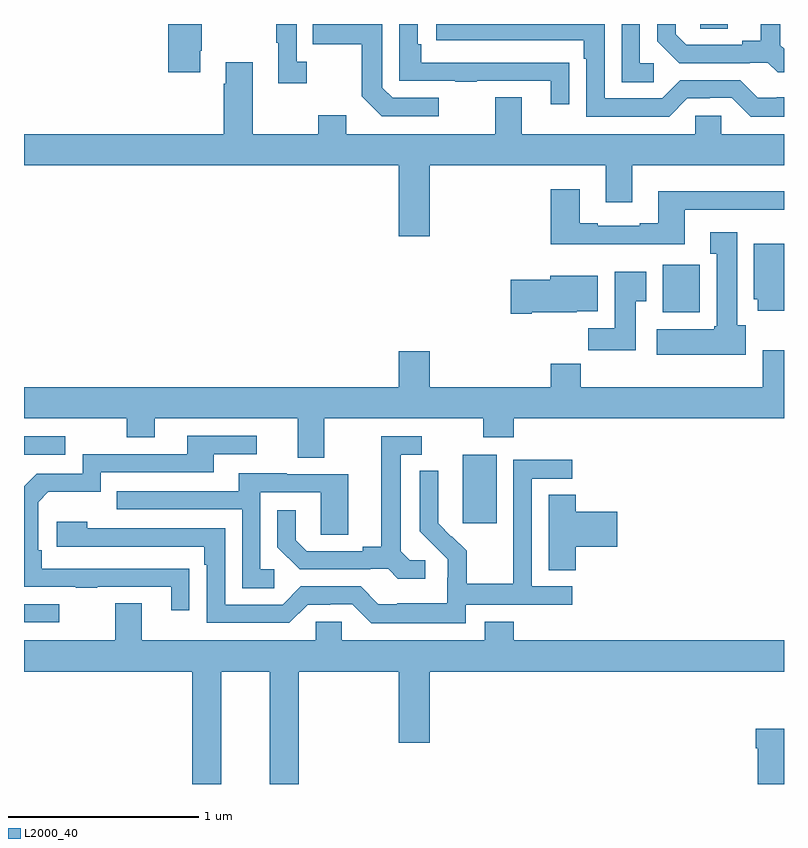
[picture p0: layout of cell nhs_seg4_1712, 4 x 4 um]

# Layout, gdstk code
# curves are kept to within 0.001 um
import gdstk
lib = gdstk.Library(unit=1e-6, precision=1e-09)
def R(c, l, rs):  # rectangles x0, y0, x1, y1
    for r in rs: c.add(gdstk.rectangle(r[:2], r[2:], *l))
def P(c, l, *ps):  # polygons
    for p in ps: c.add(gdstk.Polygon(p, *l))
L2000_40 = (2000, 40)

nhs_seg4_1712 = lib.new_cell('nhs_seg4_1712')
R(nhs_seg4_1712, L2000_40, [(199,791.751,199.186,791.847), (201.308,792.273,201.487,792.634), (199,792.633,199.216,792.729), (202.361,793.382,202.557,793.633), (202.56,794.875,202.705,794.9)])
P(nhs_seg4_1712, L2000_40, [(199.927,794.758),(199.935,794.758),(199.935,794.9),(199.76,794.9),(199.76,794.646),(199.927,794.646)],
  [(200.488,794.702),(200.436,794.702),(200.436,794.9),(200.328,794.9),(200.328,794.801),(200.339,794.801),(200.339,794.589),(200.488,794.589)],
  [(202.315,794.694),(202.242,794.694),(202.242,794.9),(202.146,794.9),(202.146,794.593),(202.315,794.593)],
  [(201.869,794.696),(201.767,794.696),(201.767,794.697),(201.092,794.697),(201.092,794.794),(201.072,794.794),(201.072,794.9),(200.976,794.9),(200.976,794.601),(201.271,794.601),(201.271,794.596),(201.383,794.596),(201.383,794.601),(201.773,794.601),(201.773,794.478),(201.869,794.478)],
  [(201.184,794.511),(200.94,794.511),(200.886,794.565),(200.886,794.9),(200.521,794.9),(200.521,794.794),(200.778,794.794),(200.778,794.521),(200.883,794.415),(201.184,794.415)],
  [(203,794.515),(202.963,794.515),(202.963,794.511),(202.863,794.511),(202.77,794.604),(202.455,794.604),(202.359,794.508),(202.056,794.508),(202.056,794.9),(201.171,794.9),(201.171,794.814),(201.947,794.814),(201.947,794.717),(201.96,794.717),(201.96,794.412),(202.395,794.412),(202.491,794.508),(202.61,794.508),(202.61,794.511),(202.725,794.511),(202.825,794.411),(203,794.411)],
  [(203,794.77),(202.981,794.789),(202.981,794.9),(202.877,794.9),(202.877,794.813),(202.781,794.813),(202.781,794.79),(202.486,794.79),(202.429,794.847),(202.429,794.9),(202.332,794.9),(202.332,794.81),(202.448,794.694),(202.82,794.694),(202.82,794.697),(202.914,794.697),(202.966,794.645),(203,794.645)],
  [(201.619,794.515),(201.479,794.515),(201.479,794.32),(200.695,794.32),(200.695,794.419),(200.548,794.419),(200.548,794.32),(200.203,794.32),(200.203,794.698),(200.063,794.698),(200.063,794.585),(200.051,794.585),(200.051,794.32),(199,794.32),(199,794.156),(200.972,794.156),(200.972,793.782),(201.136,793.782),(201.136,794.156),(202.061,794.156),(202.061,793.962),(202.201,793.962),(202.201,794.156),(203,794.156),(203,794.32),(202.671,794.32),(202.671,794.418),(202.533,794.418),(202.533,794.32),(201.619,794.32)],
  [(202.477,793.923),(203,793.923),(203,794.02),(202.337,794.02),(202.337,793.852),(202.241,793.852),(202.241,793.839),(202.021,793.839),(202.021,793.852),(201.925,793.852),(201.925,794.029),(201.773,794.029),(201.773,793.742),(202.477,793.742)],
  [(202.798,793.314),(202.753,793.314),(202.753,793.804),(202.613,793.804),(202.613,793.691),(202.646,793.691),(202.646,793.308),(202.633,793.308),(202.633,793.294),(202.329,793.294),(202.329,793.16),(202.798,793.16)],
  [(203,793.744),(202.841,793.744),(202.841,793.452),(202.862,793.452),(202.862,793.392),(203,793.392)],
  [(202.219,793.441),(202.276,793.441),(202.276,793.597),(202.109,793.597),(202.109,793.3),(201.97,793.3),(201.97,793.182),(202.219,793.182)],
  [(201.673,793.382),(201.909,793.382),(201.909,793.388),(202.021,793.388),(202.021,793.576),(201.77,793.576),(201.77,793.553),(201.561,793.553),(201.561,793.375),(201.673,793.375)],
  [(200.581,792.824),(201.418,792.824),(201.418,792.725),(201.578,792.725),(201.578,792.824),(203,792.824),(203,793.183),(202.889,793.183),(202.889,792.988),(201.929,792.988),(201.929,793.112),(201.773,793.112),(201.773,792.988),(201.136,792.988),(201.136,793.177),(200.972,793.177),(200.972,792.988),(199,792.988),(199,792.824),(199.54,792.824),(199.54,792.725),(199.687,792.725),(199.687,792.824),(200.441,792.824),(200.441,792.616),(200.581,792.616)],
  [(199.871,792.032),(199.094,792.033),(199.094,792.13),(199.074,792.13),(199.074,792.384),(199.127,792.437),(199.404,792.437),(199.404,792.54),(199.999,792.54),(199.999,792.636),(200.224,792.636),(200.224,792.732),(199.859,792.732),(199.859,792.636),(199.308,792.636),(199.308,792.534),(199.068,792.534),(199,792.466),(199,791.937),(199.273,791.937),(199.273,791.932),(199.385,791.932),(199.385,791.937),(199.775,791.937),(199.775,791.814),(199.871,791.814)],
  [(201.112,792.078),(201.03,792.078),(200.983,792.125),(200.983,792.633),(201.094,792.633),(201.094,792.729),(200.879,792.729),(200.879,792.149),(200.783,792.149),(200.783,792.126),(200.488,792.126),(200.431,792.183),(200.431,792.34),(200.334,792.34),(200.334,792.146),(200.45,792.03),(200.822,792.03),(200.822,792.033),(200.916,792.033),(200.968,791.981),(201.112,791.981)],
  [(201.324,791.844),(201.886,791.844),(201.886,791.94),(201.672,791.94),(201.672,792.507),(201.886,792.507),(201.886,792.606),(201.576,792.606),(201.576,792.176),(201.574,792.176),(201.574,791.953),(201.329,791.953),(201.329,792.127),(201.252,792.204),(201.249,792.201),(201.179,792.272),(201.18,792.548),(201.084,792.548),(201.084,792.23),(201.23,792.082),(201.23,791.985),(201.228,791.985),(201.228,791.851),(200.965,791.851),(200.965,791.847),(200.865,791.847),(200.772,791.94),(200.457,791.94),(200.361,791.844),(200.058,791.844),(200.058,792.246),(199.334,792.246),(199.334,792.28),(199.173,792.28),(199.173,792.15),(199.949,792.15),(199.949,792.053),(199.962,792.053),(199.962,791.748),(200.397,791.748),(200.493,791.844),(200.612,791.844),(200.612,791.847),(200.727,791.847),(200.827,791.747),(201.324,791.747)],
  [(200.317,792.03),(200.244,792.03),(200.244,792.435),(200.562,792.435),(200.562,792.211),(200.707,792.211),(200.707,792.531),(200.383,792.531),(200.383,792.535),(200.129,792.535),(200.129,792.441),(199.489,792.441),(199.489,792.345),(200.148,792.345),(200.148,791.929),(200.317,791.929)],
  [(201.905,792.149),(202.123,792.149),(202.123,792.332),(201.905,792.332),(201.905,792.422),(201.761,792.422),(201.761,792.025),(201.905,792.025)],
  [(200.038,791.492),(200.294,791.492),(200.294,790.9),(200.447,790.9),(200.447,791.492),(200.972,791.492),(200.972,791.118),(201.136,791.118),(201.136,791.492),(203,791.492),(203,791.656),(201.578,791.656),(201.578,791.755),(201.425,791.755),(201.425,791.656),(200.673,791.656),(200.673,791.754),(200.535,791.754),(200.535,791.656),(199.621,791.656),(199.621,791.851),(199.481,791.851),(199.481,791.656),(199,791.656),(199,791.492),(199.886,791.492),(199.886,790.9),(200.038,790.9)],
  [(203,791.191),(202.85,791.191),(202.85,791.087),(202.862,791.087),(202.862,790.9),(203,790.9)])

lib.write_gds('nhs_seg4_1712.gds')
